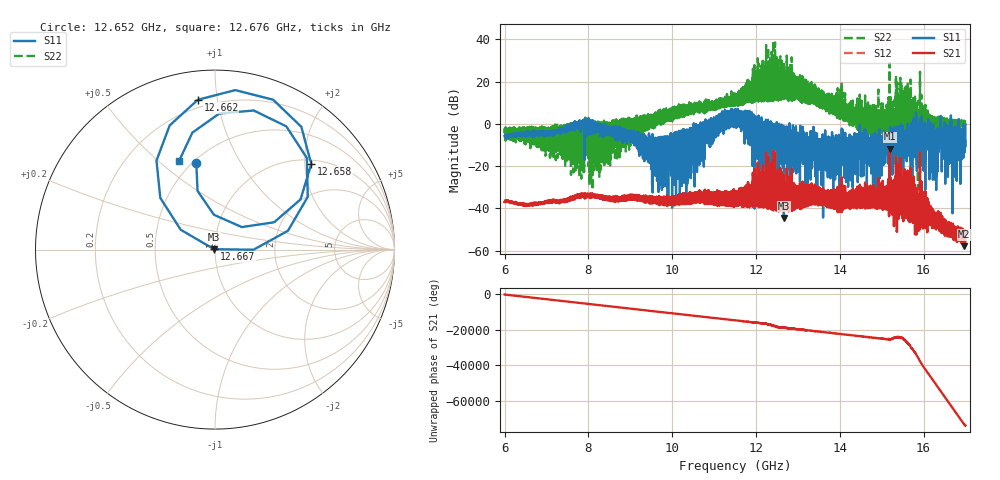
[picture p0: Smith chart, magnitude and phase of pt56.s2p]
#  HZ  S  RI  R  50.00
! Rohde & Schwarz Vector Network Analyzer
! Rohde-Schwarz,ZNA67-2Port,1332450062101215,3.01
! Created: UTC 10/16/2026, 10:27:13 AM
! freq[Hz]  re:S11  im:S11  re:S21  im:S21  re:S12  im:S12  re:S22  im:S22
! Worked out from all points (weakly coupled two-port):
!   11001 points, 6 GHz to 17 GHz, reference 50 ohm
!   highest |S21| = -11.81 dB at 15.191 GHz (marker M1); lowest = -57.9 dB at 16.967 GHz (marker M2)
!   lowest |S11| = -44.6 dB at 12.667 GHz (marker M3), VSWR 1.01, Z = 49.5 + j0.221 ohm
!   |S11| at or under -10 dB: 13.60986 GHz to 13.63798 GHz (28.12 MHz wide, 0.206 % of centre); 14.14714 GHz to 14.17348 GHz (26.34 MHz wide, 0.186 % of centre); 14.71211 GHz to 14.74042 GHz (28.3 MHz wide, 0.192 % of centre) (the widest 3 of 462)
!   |S22| runs from -31.4 to 39.4 dB; largest |S21 - S12| = 0.01
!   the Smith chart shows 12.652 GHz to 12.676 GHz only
!   S11 on the Smith chart (normalised r, x): 12.652 GHz: 0.52, +0.66; 12.658 GHz: 1.10, +2.16; 12.662 GHz: 0.16, +0.88; 12.667 GHz: 0.99, +0.00; 12.676 GHz: 0.43, +0.58
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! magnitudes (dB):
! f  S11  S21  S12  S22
! 6 GHz  -5.6  -37.0  -36.9  -4.5
! 7.834 GHz  -0.4  -33.5  -33.4  -1.3
! 9.667 GHz  -6.4  -35.4  -35.5  5.5
! 11.5 GHz  6.8  -37.4  -37.4  10.2
! 12.652 GHz  -6.1  -40.9  -40.9  12.0
! 12.658 GHz  -2.9  -35.6  -35.6  17.2
! 12.662 GHz  -1.5  -40.3  -40.3  12.8
! 12.667 GHz  -44.6  -34.7  -34.7  18.5
! 12.676 GHz  -5.5  -39.1  -39.0  13.4
! 13.334 GHz  -9.6  -35.9  -35.9  11.8
! 14.153 GHz  -16.9  -39.2  -39.1  1.9
! 14.446 GHz  -9.6  -39.3  -39.2  -0.3
! 14.744 GHz  -5.7  -34.7  -34.7  -1.6
! 15.167 GHz  -11.0  -26.1  -26.0  12.6
! 15.191 GHz  -10.1  -11.8  -11.8  28.5
! 15.683 GHz  -12.1  -37.4  -37.4  1.2
! 15.802 GHz  -4.6  -41.8  -41.9  0.4
! 16.188 GHz  -12.7  -44.8  -44.9  -0.3
! 16.692 GHz  -19.1  -48.1  -48.1  0.7
! 16.743 GHz  -2.2  -51.2  -51.1  1.0
! 16.967 GHz  -2.7  -57.9  -57.9  -0.8
! 17 GHz  -0.4  -51.9  -51.9  0.9
